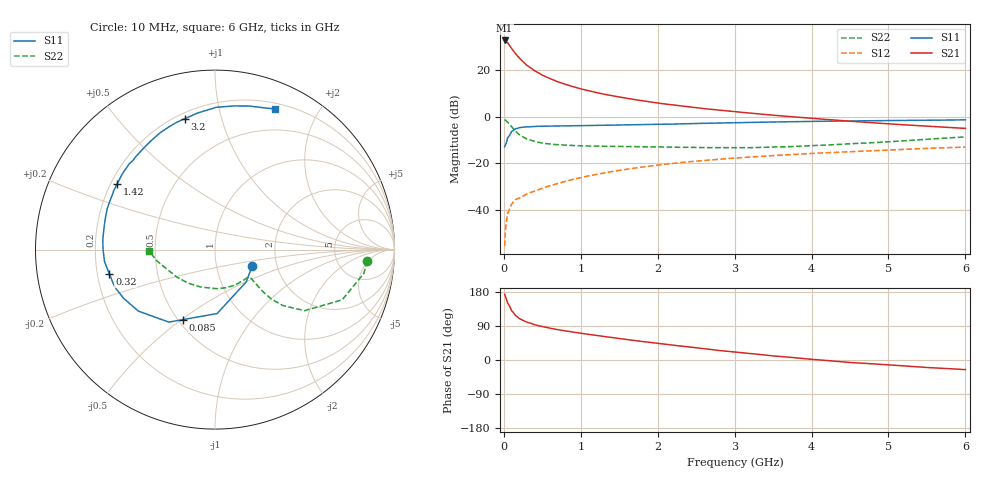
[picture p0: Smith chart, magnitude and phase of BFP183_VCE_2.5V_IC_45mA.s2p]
! Infineon Technologies  Discrete & RF Semiconductors
! BFP183
! VCE = 2.5 V,  IC =  45 mA
! Common Emitter S-Parameters:  Jan 2016
# GHz  S  MA  R  50
!  f  S11  S21  S12  S22
! GHz  MAG  ANG  MAG  ANG  MAG  ANG  MAG  ANG
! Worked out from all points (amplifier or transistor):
!   210 points, 10 MHz to 6 GHz, reference 50 ohm
!   highest |S21| = 32.5 dB at 10 MHz (marker M1)
!   |S21| within 3 dB of that: start of sweep to 91.76 MHz
!   unconditionally stable (mu >= 1): start of sweep to 18.4 MHz; 330.4 MHz to end of sweep
!   at 185 MHz: K = 0.74, MSG = 30.3 dB, |S12| = -35.0 dB
!   at 1.52 GHz: K = 1.40, MAG = 11.8 dB, |S12| = -22.9 dB
!   at 6 GHz: K = 1.09, MAG = 2.2 dB, |S12| = -13.0 dB
!   S11 on the Smith chart (normalised r, x): 10 MHz: 1.49, -0.29; 85 MHz: 0.53, -0.51; 320 MHz: 0.25, -0.11; 1.42 GHz: 0.23, +0.29; 3.2 GHz: 0.23, +0.77; 6 GHz: 0.26, +1.48
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0.01  0.2264 -24.0  42.32 173.6  0.0017 76.9  0.8506 -4.3
0.02  0.2502 -45.8  41.79 167.6  0.0036 69.7  0.8397 -9.1
0.05  0.3565 -88.1  37.76 150.3  0.0085 68.6  0.7616 -21.6
0.085  0.4278 -114.4  31.03 137.5  0.0118 57.0  0.6475 -29.9
0.1  0.4789 -122.5  28.78 130.3  0.0133 53.8  0.6038 -34.3
0.15  0.5472 -141.2  22.26 117.9  0.0168 50.5  0.4877 -39.6
0.155  0.5493 -142.3  21.8 117.2  0.0169 50.5  0.4802 -39.7
0.2  0.5771 -152.0  17.81 109.7  0.0182 50.2  0.413 -41.3
0.22  0.5837 -155.1  16.54 107.6  0.0189 50.3  0.3942 -41.3
0.26  0.5971 -160.8  14.24 103.2  0.0204 50.6  0.3591 -41.3
0.32  0.6035 -167.1  11.86 98.7  0.0229 52.0  0.3239 -40.6
0.4  0.619 -173.6  9.535 93.0  0.0256 54.1  0.2926 -39.6
0.6  0.6276 174.9  6.473 83.8  0.0334 58.1  0.2585 -38.6
0.8  0.6329 166.4  4.874 76.7  0.041 60.0  0.2448 -39.6
1.02  0.6428 158.5  3.839 70.0  0.0502 60.7  0.2367 -42.4
1.42  0.6568 146.0  2.764 59.0  0.0674 59.5  0.2305 -49.6
2.02  0.6819 129.6  1.926 43.5  0.0926 54.9  0.2247 -64.0
3.1  0.7442 104.9  1.23 19.2  0.1331 44.4  0.216 -97.8
3.2  0.7487 102.9  1.187 17.3  0.1365 43.4  0.2167 -101.3
4.1  0.7951 88.0  0.891 0.3  0.1661 34.6  0.2426 -132.2
5.1  0.8242 75.5  0.682 -14.2  0.1955 26.0  0.2962 -160.3
6  0.8519 66.9  0.559 -25.4  0.2229 16.9  0.368 -178.9
